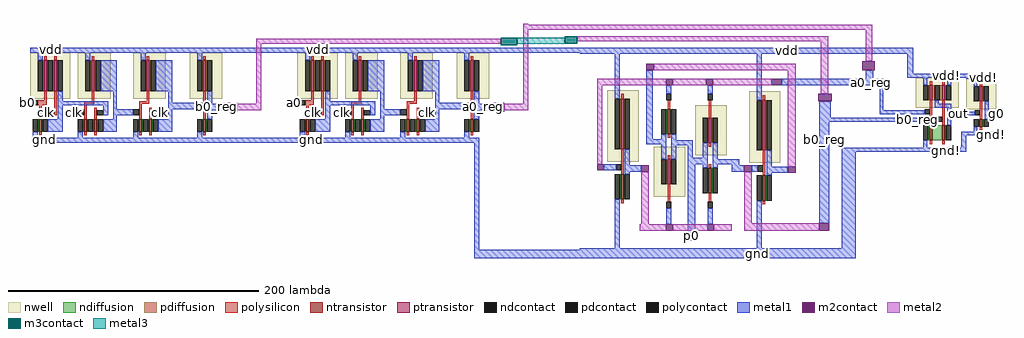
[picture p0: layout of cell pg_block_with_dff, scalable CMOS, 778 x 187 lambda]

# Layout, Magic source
magic
tech scmos
<< nwell >>
rect -206 21 -174 58
rect -168 21 -142 58
rect -124 21 -98 58
rect -79 21 -53 58
rect 7 21 39 58
rect 45 21 71 58
rect 89 21 115 58
rect 134 21 160 58
rect 254 -29 279 28
rect 291 -57 316 -17
rect 324 -24 349 16
rect 367 -30 392 27
rect 500 14 534 38
rect 540 13 564 37
<< ntransistor >>
rect -199 -5 -197 5
rect -163 -5 -161 5
rect -155 -5 -153 5
rect -119 -5 -117 5
rect -111 -5 -109 5
rect -68 -5 -66 5
rect 14 -5 16 5
rect 50 -5 52 5
rect 58 -5 60 5
rect 94 -5 96 5
rect 102 -5 104 5
rect 145 -5 147 5
rect 302 -7 304 13
rect 511 -12 513 0
rect 521 -12 523 0
rect 551 -1 553 5
rect 265 -59 267 -39
rect 335 -54 337 -34
rect 378 -60 380 -40
<< ptransistor >>
rect -195 27 -193 52
rect -187 27 -185 52
rect -157 27 -155 52
rect -113 27 -111 52
rect -68 27 -66 52
rect 18 27 20 52
rect 26 27 28 52
rect 56 27 58 52
rect 100 27 102 52
rect 145 27 147 52
rect 265 -19 267 21
rect 511 20 513 32
rect 521 20 523 32
rect 335 -14 337 6
rect 378 -20 380 20
rect 551 19 553 31
rect 302 -47 304 -27
<< ndiffusion >>
rect -200 -5 -199 5
rect -197 -5 -196 5
rect -164 -5 -163 5
rect -161 -5 -160 5
rect -156 -5 -155 5
rect -153 -5 -152 5
rect -120 -5 -119 5
rect -117 -5 -116 5
rect -112 -5 -111 5
rect -109 -5 -108 5
rect -69 -5 -68 5
rect -66 -5 -65 5
rect 13 -5 14 5
rect 16 -5 17 5
rect 49 -5 50 5
rect 52 -5 53 5
rect 57 -5 58 5
rect 60 -5 61 5
rect 93 -5 94 5
rect 96 -5 97 5
rect 101 -5 102 5
rect 104 -5 105 5
rect 144 -5 145 5
rect 147 -5 148 5
rect 301 -7 302 13
rect 304 -7 305 13
rect 510 -12 511 0
rect 513 -12 521 0
rect 523 -12 524 0
rect 550 -1 551 5
rect 553 -1 554 5
rect 264 -59 265 -39
rect 267 -59 268 -39
rect 334 -54 335 -34
rect 337 -54 338 -34
rect 377 -60 378 -40
rect 380 -60 381 -40
<< pdiffusion >>
rect -196 27 -195 52
rect -193 27 -192 52
rect -188 27 -187 52
rect -185 27 -184 52
rect -158 27 -157 52
rect -155 27 -154 52
rect -114 27 -113 52
rect -111 27 -110 52
rect -69 27 -68 52
rect -66 27 -65 52
rect 17 27 18 52
rect 20 27 21 52
rect 25 27 26 52
rect 28 27 29 52
rect 55 27 56 52
rect 58 27 59 52
rect 99 27 100 52
rect 102 27 103 52
rect 144 27 145 52
rect 147 27 148 52
rect 264 -19 265 21
rect 267 -19 268 21
rect 510 20 511 32
rect 513 20 515 32
rect 519 20 521 32
rect 523 20 524 32
rect 334 -14 335 6
rect 337 -14 338 6
rect 377 -20 378 20
rect 380 -20 381 20
rect 550 19 551 31
rect 553 19 554 31
rect 301 -47 302 -27
rect 304 -47 305 -27
<< ndcontact >>
rect -204 -5 -200 5
rect -196 -5 -192 5
rect -168 -5 -164 5
rect -160 -5 -156 5
rect -152 -5 -148 5
rect -124 -5 -120 5
rect -116 -5 -112 5
rect -108 -5 -104 5
rect -73 -5 -69 5
rect -65 -5 -61 5
rect 9 -5 13 5
rect 17 -5 21 5
rect 45 -5 49 5
rect 53 -5 57 5
rect 61 -5 65 5
rect 89 -5 93 5
rect 97 -5 101 5
rect 105 -5 109 5
rect 140 -5 144 5
rect 148 -5 152 5
rect 297 -7 301 13
rect 305 -7 309 13
rect 506 -12 510 0
rect 524 -12 528 0
rect 546 -1 550 5
rect 554 -1 558 5
rect 260 -59 264 -39
rect 268 -59 272 -39
rect 330 -54 334 -34
rect 338 -54 342 -34
rect 373 -60 377 -40
rect 381 -60 385 -40
<< pdcontact >>
rect -200 27 -196 52
rect -192 27 -188 52
rect -184 27 -180 52
rect -162 27 -158 52
rect -154 27 -150 52
rect -118 27 -114 52
rect -110 27 -106 52
rect -73 27 -69 52
rect -65 27 -61 52
rect 13 27 17 52
rect 21 27 25 52
rect 29 27 33 52
rect 51 27 55 52
rect 59 27 63 52
rect 95 27 99 52
rect 103 27 107 52
rect 140 27 144 52
rect 148 27 152 52
rect 260 -19 264 21
rect 268 -19 272 21
rect 506 20 510 32
rect 515 20 519 32
rect 524 20 528 32
rect 330 -14 334 6
rect 338 -14 342 6
rect 373 -20 377 20
rect 381 -20 385 20
rect 546 19 550 31
rect 554 19 558 31
rect 297 -47 301 -27
rect 305 -47 309 -27
<< polysilicon >>
rect -195 52 -193 55
rect -187 52 -185 55
rect -157 52 -155 55
rect -113 52 -111 55
rect -68 52 -66 55
rect 18 52 20 55
rect 26 52 28 55
rect 56 52 58 55
rect 100 52 102 55
rect 145 52 147 55
rect 511 32 513 35
rect 521 32 523 35
rect -195 20 -193 27
rect -200 16 -193 20
rect -199 5 -197 16
rect -187 8 -185 27
rect -157 19 -155 27
rect -113 19 -111 27
rect -163 17 -155 19
rect -119 17 -111 19
rect -163 5 -161 17
rect -155 5 -153 14
rect -119 5 -117 17
rect -111 5 -109 14
rect -68 5 -66 27
rect 18 20 20 27
rect 13 16 20 20
rect 14 5 16 16
rect 26 8 28 27
rect 56 19 58 27
rect 100 19 102 27
rect 50 17 58 19
rect 94 17 102 19
rect 50 5 52 17
rect 58 5 60 14
rect 94 5 96 17
rect 102 5 104 14
rect 145 5 147 27
rect 265 21 267 25
rect -199 -8 -197 -5
rect -163 -8 -161 -5
rect -155 -8 -153 -5
rect -119 -8 -117 -5
rect -111 -8 -109 -5
rect -68 -8 -66 -5
rect 14 -8 16 -5
rect 50 -8 52 -5
rect 58 -8 60 -5
rect 94 -8 96 -5
rect 102 -8 104 -5
rect 145 -8 147 -5
rect 378 20 380 24
rect 551 31 553 34
rect 302 13 304 20
rect 335 6 337 20
rect 302 -10 304 -7
rect 335 -17 337 -14
rect 265 -39 267 -19
rect 511 0 513 20
rect 521 0 523 20
rect 551 5 553 19
rect 551 -4 553 -1
rect 511 -15 513 -12
rect 521 -15 523 -12
rect 302 -27 304 -24
rect 335 -34 337 -31
rect 265 -62 267 -59
rect 302 -61 304 -47
rect 378 -40 380 -20
rect 335 -61 337 -54
rect 378 -63 380 -60
<< polycontact >>
rect -204 16 -200 20
rect -191 8 -187 12
rect -168 8 -163 13
rect -153 8 -148 12
rect -124 8 -119 13
rect -72 13 -68 18
rect -109 8 -104 12
rect 9 16 13 20
rect 22 8 26 12
rect 45 8 50 13
rect 60 8 65 12
rect 89 8 94 13
rect 141 13 145 18
rect 104 8 109 12
rect 301 20 305 25
rect 334 20 338 25
rect 261 -36 265 -31
rect 507 9 511 13
rect 517 3 521 7
rect 547 8 551 12
rect 374 -37 378 -32
rect 301 -66 305 -61
rect 334 -66 338 -61
<< metal1 >>
rect -206 58 498 62
rect -200 52 -196 58
rect -162 52 -158 58
rect -118 52 -114 58
rect -73 52 -69 58
rect 13 52 17 58
rect 51 52 55 58
rect 95 52 99 58
rect 140 52 144 58
rect 232 57 498 58
rect -150 27 -137 52
rect -106 27 -93 52
rect 63 27 76 52
rect 107 27 120 52
rect -211 16 -204 20
rect -184 19 -180 27
rect -184 16 -144 19
rect -194 8 -191 12
rect -184 5 -180 16
rect -172 8 -168 13
rect -148 8 -144 16
rect -140 13 -137 27
rect -96 18 -93 27
rect -96 13 -72 18
rect -65 17 -61 27
rect -140 8 -124 13
rect -104 8 -100 12
rect -140 5 -137 8
rect -96 5 -93 13
rect -65 12 -52 17
rect -65 5 -61 12
rect 2 16 9 20
rect 29 19 33 27
rect 29 16 69 19
rect 19 8 22 12
rect 29 5 33 16
rect 41 8 45 13
rect 65 8 69 16
rect 73 13 76 27
rect 117 18 120 27
rect 117 13 141 18
rect 148 17 152 27
rect 260 21 264 57
rect 73 8 89 13
rect 109 8 113 12
rect 73 5 76 8
rect 117 5 120 13
rect 148 12 161 17
rect 148 5 152 12
rect -192 -5 -180 5
rect -148 -5 -137 5
rect -104 -5 -93 5
rect 21 -5 33 5
rect 65 -5 76 5
rect 109 -5 120 5
rect -204 -10 -200 -5
rect -168 -10 -164 -5
rect -124 -10 -120 -5
rect -73 -10 -69 -5
rect 9 -10 13 -5
rect 45 -10 49 -5
rect 89 -10 93 -5
rect 140 -10 144 -5
rect -205 -14 152 -10
rect 148 -99 152 -14
rect 285 -11 290 44
rect 301 25 305 32
rect 334 25 338 32
rect 373 20 377 57
rect 460 37 466 44
rect 493 41 498 57
rect 493 40 543 41
rect 493 38 564 40
rect 393 32 474 37
rect 297 -11 301 -7
rect 285 -15 301 -11
rect 251 -36 261 -31
rect 268 -32 272 -19
rect 297 -27 301 -15
rect 268 -37 281 -32
rect 268 -39 272 -37
rect 305 -12 309 -7
rect 305 -16 322 -12
rect 305 -27 309 -16
rect 318 -26 322 -16
rect 330 -26 334 -14
rect 318 -31 334 -26
rect 260 -98 264 -59
rect 301 -79 305 -66
rect 318 -92 324 -31
rect 330 -34 334 -31
rect 338 -27 342 -14
rect 338 -31 359 -27
rect 338 -34 342 -31
rect 353 -32 359 -31
rect 353 -37 363 -32
rect 369 -37 374 -32
rect 381 -33 385 -20
rect 423 6 432 19
rect 471 12 474 32
rect 506 32 509 38
rect 525 32 528 38
rect 540 37 564 38
rect 546 31 549 37
rect 515 17 518 20
rect 515 14 528 17
rect 471 9 507 12
rect 525 11 528 14
rect 525 8 547 11
rect 555 11 558 19
rect 555 8 567 11
rect 423 3 517 6
rect 381 -38 398 -33
rect 381 -40 385 -38
rect 334 -79 338 -66
rect 373 -98 377 -60
rect 423 -78 431 3
rect 525 0 528 8
rect 555 5 558 8
rect 546 -5 549 -1
rect 536 -8 564 -5
rect 506 -18 509 -12
rect 536 -18 540 -8
rect 441 -21 540 -18
rect 441 -98 452 -21
rect 232 -99 452 -98
rect 148 -106 452 -99
<< m2contact >>
rect -52 11 -41 18
rect 285 44 291 49
rect 161 11 172 18
rect 301 32 306 37
rect 333 32 338 37
rect 457 44 467 51
rect 385 32 393 37
rect 246 -36 251 -31
rect 281 -37 287 -32
rect 301 -84 306 -79
rect 422 19 433 25
rect 363 -37 369 -32
rect 398 -38 404 -33
rect 334 -84 339 -79
rect 423 -84 431 -78
<< metal2 >>
rect 187 80 191 81
rect 187 76 465 80
rect -26 65 169 69
rect -26 17 -22 65
rect -41 12 -22 17
rect 187 17 191 76
rect 230 67 430 71
rect 291 44 404 49
rect 172 12 191 17
rect 246 32 301 37
rect 306 32 333 37
rect 338 32 385 37
rect 246 -31 250 32
rect 281 -79 287 -37
rect 363 -78 369 -37
rect 398 -33 404 44
rect 424 25 430 67
rect 460 51 465 76
rect 280 -84 301 -79
rect 306 -84 334 -79
rect 339 -84 353 -79
rect 363 -84 423 -78
<< m3contact >>
rect 169 64 182 70
rect 220 65 230 71
<< metal3 >>
rect 182 65 220 70
<< labels >>
rlabel metal1 562 8 567 11 1 g0
rlabel metal1 500 3 503 6 1 b0_reg
rlabel metal1 500 9 504 12 1 a0_reg
rlabel metal1 560 -7 560 -7 1 gnd!
rlabel metal1 554 38 554 38 5 vdd!
rlabel metal1 534 8 534 11 7 out
rlabel metal1 524 -20 524 -20 1 gnd!
rlabel metal1 524 40 524 40 5 vdd!
rlabel metal1 457 32 472 37 1 a0_reg
rlabel metal1 423 -19 431 -3 1 b0_reg
rlabel metal1 318 -91 324 -85 1 p0
rlabel metal1 341 57 455 62 1 vdd
rlabel metal1 317 -105 431 -99 1 gnd
rlabel metal1 19 9 21 11 1 clk
rlabel metal1 17 -12 20 -11 1 gnd
rlabel metal1 23 60 25 61 5 vdd
rlabel metal1 42 9 43 11 1 clk
rlabel metal1 110 9 112 11 1 clk
rlabel metal1 154 14 157 16 1 a0_reg
rlabel metal1 4 17 6 19 3 a0
rlabel metal1 -103 9 -101 11 1 clk
rlabel metal1 -171 9 -170 11 1 clk
rlabel metal1 -190 60 -188 61 5 vdd
rlabel metal1 -196 -12 -193 -11 1 gnd
rlabel metal1 -194 9 -192 11 1 clk
rlabel metal1 -209 17 -207 19 3 b0
rlabel metal1 -59 14 -56 16 1 b0_reg
<< end >>
